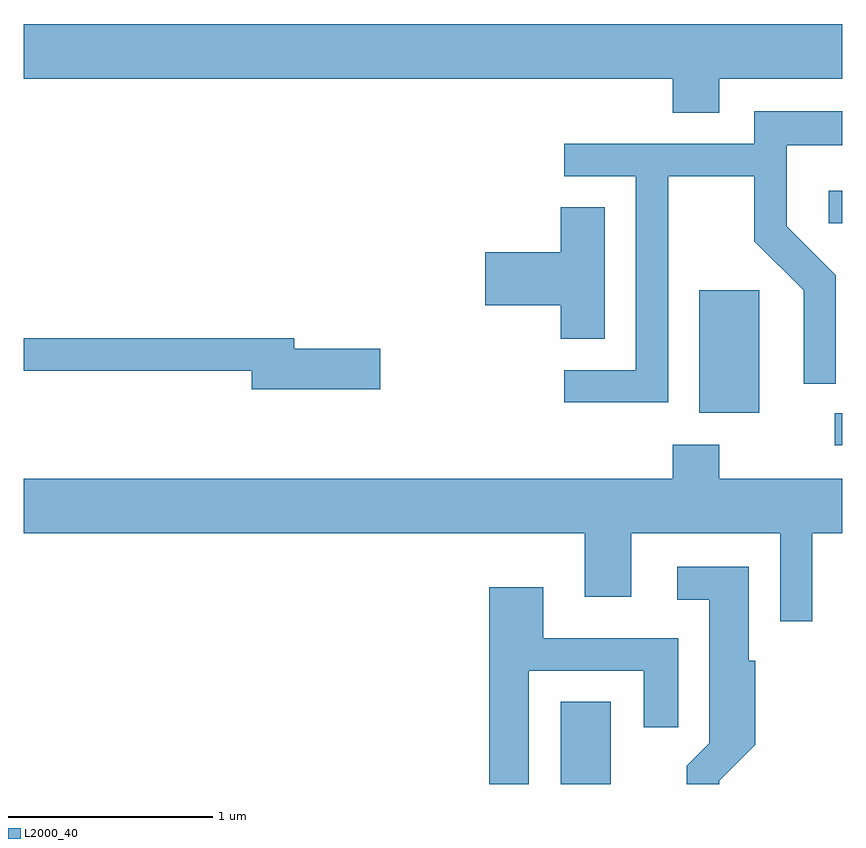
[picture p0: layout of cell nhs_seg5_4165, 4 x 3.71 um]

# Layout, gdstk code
import gdstk
lib = gdstk.Library(unit=1e-6, precision=1e-09)
def R(c, l, rs):  # rectangles x0, y0, x1, y1
    for r in rs: c.add(gdstk.rectangle(r[:2], r[2:], *l))
def P(c, l, *ps):  # polygons
    for p in ps: c.add(gdstk.Polygon(p, *l))
L2000_40 = (2000, 40)

nhs_seg5_4165 = lib.new_cell('nhs_seg5_4165')
R(nhs_seg5_4165, L2000_40, [(312.236,1400.072,312.479,1400.474), (313.573,1401.726,313.611,1401.884), (312.911,1401.886,313.204,1402.484), (313.543,1402.811,313.611,1402.969)])
P(nhs_seg5_4165, L2000_40, [(313.009,1403.516),(313.611,1403.516),(313.611,1403.784),(309.611,1403.784),(309.611,1403.516),(312.781,1403.516),(312.781,1403.351),(313.009,1403.351)],
  [(312.759,1403.041),(313.181,1403.041),(313.181,1402.724),(313.421,1402.484),(313.421,1402.028),(313.579,1402.028),(313.579,1402.557),(313.339,1402.797),(313.339,1403.191),(313.611,1403.191),(313.611,1403.359),(313.181,1403.359),(313.181,1403.199),(312.253,1403.199),(312.253,1403.041),(312.601,1403.041),(312.601,1402.094),(312.253,1402.094),(312.253,1401.936),(312.759,1401.936)],
  [(312.449,1402.889),(312.236,1402.889),(312.236,1402.669),(311.866,1402.669),(311.866,1402.411),(312.236,1402.411),(312.236,1402.246),(312.449,1402.246)],
  [(311.354,1402.199),(310.934,1402.199),(310.934,1402.249),(309.611,1402.249),(309.611,1402.091),(310.726,1402.091),(310.726,1402.001),(311.354,1402.001)],
  [(313.464,1401.296),(313.611,1401.296),(313.611,1401.564),(313.009,1401.564),(313.009,1401.729),(312.781,1401.729),(312.781,1401.564),(309.611,1401.564),(309.611,1401.296),(312.351,1401.296),(312.351,1400.986),(312.579,1400.986),(312.579,1401.296),(313.306,1401.296),(313.306,1400.868),(313.464,1400.868)],
  [(313.009,1400.089),(313.184,1400.264),(313.184,1400.674),(313.154,1400.674),(313.154,1401.134),(312.803,1401.134),(312.803,1400.971),(312.961,1400.971),(312.961,1400.272),(312.851,1400.162),(312.851,1400.072),(313.009,1400.072)],
  [(312.079,1400.626),(312.641,1400.626),(312.641,1400.348),(312.809,1400.348),(312.809,1400.784),(312.149,1400.784),(312.149,1401.034),(311.886,1401.034),(311.886,1400.072),(312.079,1400.072)])

lib.write_gds('nhs_seg5_4165.gds')
